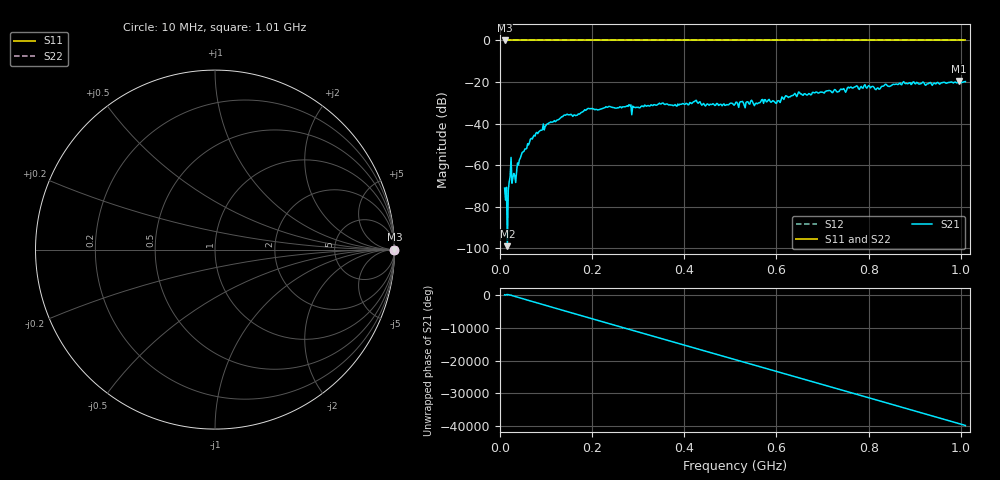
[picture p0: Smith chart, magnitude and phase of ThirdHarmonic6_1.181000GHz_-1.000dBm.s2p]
! 8/16/2025 12:03:49 PM
! C:\ANRITSUVNA\TEMP\TEMP.S2P
! CHANNEL.1
! TR.MEASUREMENT
! RAW.DATA
! RF.CORRECTION.OFF
! AVERAGING.OFF
! IF.BANDWIDTH: 5KHZ
! SWEEPTYPE:  FREQ.SWEEP(Linear)
! Reference Plane Port Info
! PORT:  PORT1  PORT2
! DISTANCE:  0  m  0  m
! TIME:  0  s  0  s
! PHASE.OFFSET:  0  deg.  0  deg.
! LOSS:  0  dB  0  dB
! REF.LOSS:  0  dB  0  dB
! REF.FREQ:  0  Hz  0  Hz
! Power Info
! POWER:  -20  dBm  -20  dBm
! EFF.POWER:  -20  dBm  -20  dBm
! SOURCE.ATTEN:  0  dB  0  dB
! TEST.ATTEN:  0  dB  0  dB
# GHZ S RI R 50.0
! FREQ.GHZ  S11RE  S11IM  S21RE  S21IM  S12RE  S12IM  S22RE  S22IM
!; PortSelection: Port_12
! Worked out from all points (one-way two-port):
!   501 points, 10 MHz to 1.01 GHz, reference 50 ohm
!   highest |S21| = -19.53 dB at 996 MHz (marker M1); lowest = -98.9 dB at 16 MHz (marker M2)
!   lowest |S11| = 0.0 dB at 10 MHz (marker M3)
!   |S11| at or under -10 dB: nowhere
!   |S22| runs from 0.0 to 0.0 dB; largest |S21 - S12| = 1.1
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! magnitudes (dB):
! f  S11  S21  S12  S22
! 10 MHz  0.0  -71.0  0.0  0.0
! 12 MHz  0.0  -76.7  0.0  0.0
! 16 MHz  0.0  -98.9  0.0  0.0
! 24 MHz  0.0  -56.2  0.0  0.0
! 28 MHz  0.0  -66.0  0.0  0.0
! 30 MHz  0.0  -64.0  0.0  0.0
! 46 MHz  0.0  -55.3  0.0  0.0
! 70 MHz  0.0  -47.4  0.0  0.0
! 106 MHz  0.0  -39.6  0.0  0.0
! 142 MHz  0.0  -36.0  0.0  0.0
! 178 MHz  0.0  -34.4  0.0  0.0
! 194 MHz  0.0  -32.8  0.0  0.0
! 280 MHz  0.0  -30.8  0.0  0.0
! 290 MHz  0.0  -32.0  0.0  0.0
! 344 MHz  0.0  -30.5  0.0  0.0
! 510 MHz  0.0  -30.6  0.0  0.0
! 600 MHz  0.0  -30.3  0.0  0.0
! 650 MHz  0.0  -25.0  0.0  0.0
! 678 MHz  0.0  -25.0  0.0  0.0
! 844 MHz  0.0  -22.1  0.0  0.0
! 996 MHz  0.0  -19.5  0.0  0.0
! 1.01 GHz  0.0  -19.8  0.0  0.0
